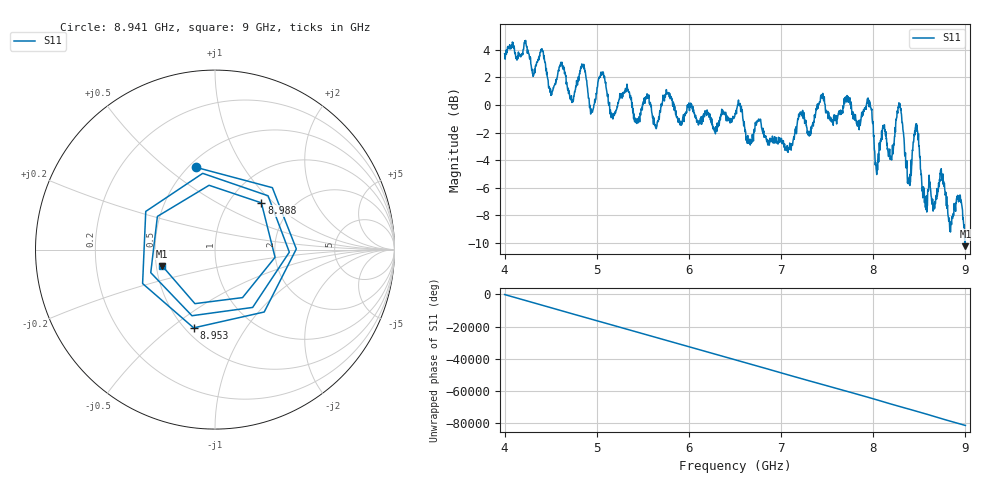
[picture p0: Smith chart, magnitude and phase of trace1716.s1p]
! Created with skrf 1.8.0 (http://scikit-rf.org).
# Hz S RI R 50.0
!freq ReS11 ImS11
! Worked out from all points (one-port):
!   1601 points, 4 GHz to 9 GHz, reference 50 ohm
!   lowest |S11| = -10.3 dB at 9 GHz (marker M1), VSWR 1.89, Z = 26.9 - j5.46 ohm
!   |S11| at or under -10 dB: 8.993157 GHz to 8.995848 GHz (2.691 MHz wide, 0.0299 % of centre); 8.99806 GHz to end of sweep
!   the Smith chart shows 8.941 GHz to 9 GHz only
!   S11 on the Smith chart (normalised r, x): 8.941 GHz: 0.54, +0.64; 8.953 GHz: 0.55, -0.60; 8.988 GHz: 1.40, +0.84; 9 GHz: 0.54, -0.11
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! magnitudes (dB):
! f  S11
! 4 GHz  3.7
! 4.406 GHz  4.1
! 4.503 GHz  0.7
! 4.625 GHz  2.8
! 4.728 GHz  0.3
! 4.844 GHz  2.9
! 4.944 GHz  -0.4
! 5.05 GHz  2.4
! 5.166 GHz  -0.9
! 5.25 GHz  0.8
! 5.875 GHz  -1.0
! 6.5 GHz  -0.7
! 7.125 GHz  -2.9
! 7.444 GHz  0.8
! 7.75 GHz  0.0
! 7.959 GHz  0.3
! 8.038 GHz  -5.1
! 8.112 GHz  -1.7
! 8.2 GHz  -4.0
! 8.284 GHz  -0.1
! 8.375 GHz  -5.5
! 8.466 GHz  -1.6
! 8.562 GHz  -6.9
! 8.738 GHz  -4.6
! 8.941 GHz  -6.5
! 8.953 GHz  -6.9
! 8.988 GHz  -8.7
! 9 GHz  -10.3
